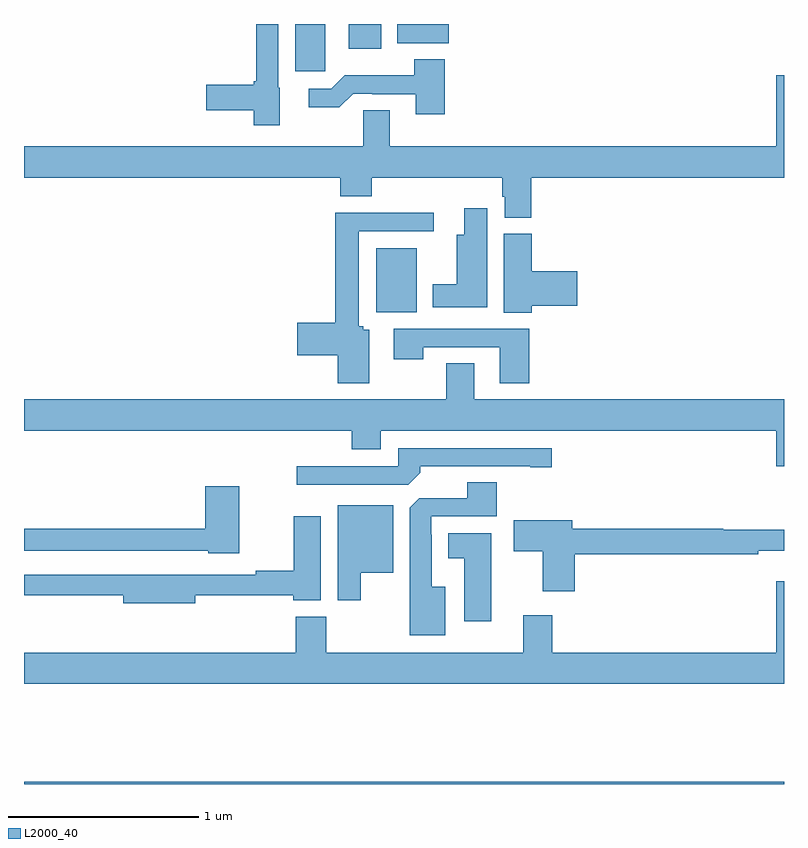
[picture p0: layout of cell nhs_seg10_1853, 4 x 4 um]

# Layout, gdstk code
import gdstk
lib = gdstk.Library(unit=1e-6, precision=1e-09)
def R(c, l, rs):  # rectangles x0, y0, x1, y1
    for r in rs: c.add(gdstk.rectangle(r[:2], r[2:], *l))
def P(c, l, *ps):  # polygons
    for p in ps: c.add(gdstk.Polygon(p, *l))
L2000_40 = (2000, 40)

nhs_seg10_1853 = lib.new_cell('nhs_seg10_1853')
R(nhs_seg10_1853, L2000_40, [(209,1254.5,213,1254.512), (210.854,1256.984,211.066,1257.319), (210.428,1258.251,210.586,1258.5), (210.71,1258.371,210.879,1258.5), (210.964,1258.4,211.235,1258.5)])
P(nhs_seg10_1853, L2000_40, [(210.346,1258.164),(210.339,1258.164),(210.339,1258.5),(210.223,1258.5),(210.223,1258.199),(210.21,1258.199),(210.21,1258.181),(209.958,1258.181),(209.958,1258.046),(210.21,1258.046),(210.21,1257.968),(210.346,1257.968)],
  [(211.214,1258.315),(211.054,1258.315),(211.054,1258.229),(210.689,1258.229),(210.618,1258.158),(210.498,1258.158),(210.498,1258.061),(210.659,1258.061),(210.732,1258.134),(210.832,1258.134),(210.832,1258.131),(211.061,1258.131),(211.061,1258.026),(211.214,1258.026)],
  [(211.67,1257.692),(213,1257.692),(213,1258.231),(212.96,1258.231),(212.96,1257.856),(210.925,1257.856),(210.925,1258.046),(210.786,1258.046),(210.786,1257.856),(209,1257.856),(209,1257.692),(210.665,1257.692),(210.665,1257.593),(210.83,1257.593),(210.83,1257.692),(211.517,1257.692),(211.517,1257.591),(211.529,1257.591),(211.529,1257.481),(211.67,1257.481)],
  [(211.438,1257.529),(211.316,1257.529),(211.316,1257.391),(211.277,1257.391),(211.277,1257.13),(211.151,1257.13),(211.151,1257.008),(211.438,1257.008)],
  [(210.817,1256.892),(210.786,1256.892),(210.786,1256.91),(210.763,1256.91),(210.763,1257.408),(211.156,1257.408),(211.156,1257.506),(210.638,1257.506),(210.638,1256.927),(210.438,1256.927),(210.438,1256.756),(210.65,1256.756),(210.65,1256.61),(210.817,1256.61)],
  [(211.673,1257.017),(211.912,1257.017),(211.912,1257.2),(211.673,1257.2),(211.673,1257.396),(211.526,1257.396),(211.526,1256.98),(211.673,1256.98)],
  [(211.658,1256.895),(210.945,1256.895),(210.945,1256.736),(211.101,1256.736),(211.101,1256.799),(211.505,1256.799),(211.505,1256.61),(211.658,1256.61)],
  [(213,1256.524),(211.369,1256.524),(211.369,1256.714),(211.222,1256.714),(211.222,1256.524),(209,1256.524),(209,1256.36),(210.725,1256.36),(210.725,1256.261),(210.877,1256.261),(210.877,1256.36),(212.96,1256.36),(212.96,1256.172),(213,1256.172)],
  [(211.085,1256.138),(211.085,1256.172),(211.664,1256.172),(211.664,1256.167),(211.777,1256.167),(211.777,1256.268),(210.969,1256.268),(210.969,1256.172),(210.435,1256.172),(210.435,1256.076),(211.023,1256.076)],
  [(211.216,1255.537),(211.147,1255.537),(211.147,1255.811),(211.143,1255.811),(211.143,1255.908),(211.487,1255.908),(211.487,1256.087),(211.334,1256.087),(211.334,1256.004),(211.08,1256.004),(211.031,1255.955),(211.031,1255.283),(211.216,1255.283)],
  [(210.132,1256.068),(209.954,1256.068),(209.954,1255.844),(209,1255.844),(209,1255.728),(209.97,1255.728),(209.97,1255.715),(210.132,1255.715)],
  [(210.772,1255.613),(210.943,1255.613),(210.943,1255.966),(210.65,1255.966),(210.65,1255.467),(210.772,1255.467)],
  [(209.902,1255.494),(210.416,1255.494),(210.416,1255.466),(210.562,1255.466),(210.562,1255.909),(210.421,1255.909),(210.421,1255.622),(210.22,1255.622),(210.22,1255.602),(209,1255.602),(209,1255.494),(209.522,1255.494),(209.522,1255.451),(209.902,1255.451)],
  [(211.898,1255.708),(212.864,1255.708),(212.864,1255.727),(213,1255.727),(213,1255.837),(212.681,1255.837),(212.681,1255.844),(211.885,1255.844),(211.885,1255.888),(211.578,1255.888),(211.578,1255.726),(211.73,1255.726),(211.73,1255.515),(211.898,1255.515)],
  [(211.459,1255.819),(211.232,1255.819),(211.232,1255.688),(211.316,1255.688),(211.316,1255.356),(211.459,1255.356)],
  [(213,1255.567),(212.96,1255.567),(212.96,1255.192),(211.781,1255.192),(211.781,1255.387),(211.628,1255.387),(211.628,1255.192),(210.591,1255.192),(210.591,1255.381),(210.431,1255.381),(210.431,1255.192),(209,1255.192),(209,1255.028),(213,1255.028)])

lib.write_gds('nhs_seg10_1853.gds')
